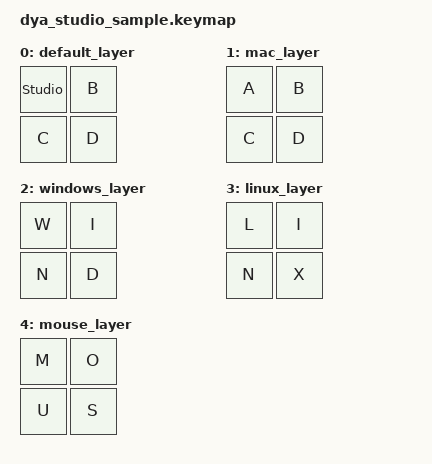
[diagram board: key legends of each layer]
#include <behaviors.dtsi>
#include <dt-bindings/zmk/keys.h>

/ {
    keymap {
        compatible = "zmk,keymap";

        default_layer {
            bindings = <
                &studio_unlock &kp B
                &kp C &kp D
            >;
        };

        mac_layer {
            bindings = <&kp A &kp B &kp C &kp D>;
        };

        windows_layer {
            bindings = <&kp W &kp I &kp N &kp D>;
        };

        linux_layer {
            bindings = <&kp L &kp I &kp N &kp X>;
        };

        mouse_layer {
            bindings = <&kp M &kp O &kp U &kp S>;
        };
    };
};
